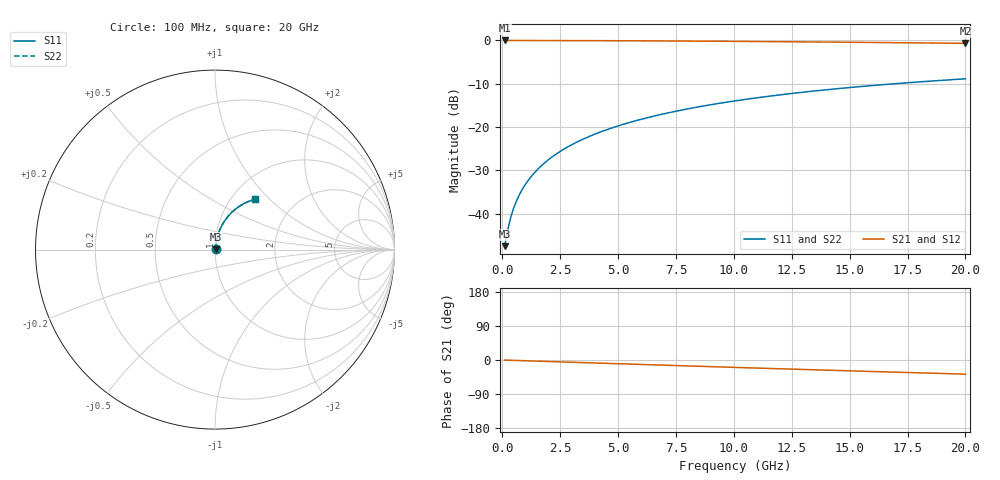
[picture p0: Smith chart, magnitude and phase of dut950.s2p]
! Touchstone file exported from HFSS 2026.1.0
!  File:  C:/ffzhzh/LocalFiles/Ansys_Project_Files/temp_train_TMRDL_950_1783158665_51560.aedt
!  Generated:  05:52:21 PM Jul  4, 2026
!  Design:  TMRDL
!  Project:  temp_train_TMRDL_950_1783158665_51560
! Variables:
!  h_bsmrdl = 2um
!  h_ox = 20um
!  h_rdl = 5um
!  h_sub = 80um
!  h_tmrdl = 2.32um
!  h_tsv = 80um
!  h_via = 3um
!  l_bsmrdl = 300um
!  l_sub = 912.64um
!  l_tmrdl = 512.64um
!  m_sub = 200um
!  pitch = 52.52um
!  r_tsv = 6um
!  s_tmrdl = 10um
!  w_bsmrdl = 18um
!  w_sub = 500um
!  w_tmrdl = 24.4um
!  x_tsv_center1 = 524.84um
!  x_tsv_center2 = 842.84um
!  x_tsv_center3 = 1379.88um
!  x_tsv_center4 = 1697.88um
!  x_tsv_center5 = 2234.92um
!  x_tsv_center6 = 2552.92um
# GHz S MA R 50.000000
! Terminal data exported
! Port[1] = TM_RDL1_1_T1
! Port[2] = TM_RDL1_1_T2
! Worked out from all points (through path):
!   200 points, 100 MHz to 20 GHz, reference 50 ohm
!   highest |S21| = -0.03 dB at 100 MHz (marker M1); lowest = -0.7 dB at 20 GHz (marker M2)
!   group delay of S21, straight-line fit = 5.19 ps
!   lowest |S11| = -47.5 dB at 100 MHz (marker M3), VSWR 1.01, Z = 50.4 + j0.23 ohm
!   |S11| at or under -10 dB: start of sweep to 16.98 GHz
!   |S22| runs from -47.5 to -8.9 dB; largest |S21 - S12| = 3.1e-15
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0.1  0.004214 32.8  0.9965 -0.2  0.9965 -0.2  0.004214 32.8
! Gamma 0 0 0 0
! Port Impedance 50 0 50 0
0.2  0.005831 51.0  0.9964 -0.4  0.9964 -0.4  0.005831 51.0
0.3  0.007748 60.2  0.9962 -0.6  0.9962 -0.6  0.007748 60.2
0.4  0.009745 65.4  0.996 -0.8  0.996 -0.8  0.009745 65.4
0.5  0.01175 68.8  0.9959 -1.0  0.9959 -1.0  0.01175 68.8
0.6  0.01376 71.1  0.9957 -1.2  0.9957 -1.2  0.01376 71.1
0.8  0.01777 74.1  0.9955 -1.6  0.9955 -1.6  0.01777 74.1
1.1  0.0238 76.8  0.9952 -2.2  0.9952 -2.2  0.0238 76.8
1.3  0.02784 77.8  0.995 -2.6  0.995 -2.6  0.02784 77.8
1.6  0.03391 78.8  0.9947 -3.2  0.9947 -3.2  0.03391 78.8
2.1  0.04409 79.5  0.9942 -4.2  0.9942 -4.2  0.04409 79.5
2.7  0.05632 79.6  0.9935 -5.4  0.9935 -5.4  0.05632 79.6
3.5  0.07261 79.0  0.9923 -6.9  0.9923 -6.9  0.07261 79.0
4.2  0.08679 78.2  0.991 -8.3  0.991 -8.3  0.08679 78.2
5  0.1029 77.1  0.9893 -9.9  0.9893 -9.9  0.1029 77.1
5.9  0.1208 75.7  0.987 -11.6  0.987 -11.6  0.1208 75.7
6.8  0.1385 74.2  0.9845 -13.4  0.9845 -13.4  0.1385 74.2
8.3  0.1674 71.6  0.9796 -16.2  0.9796 -16.2  0.1674 71.6
10.1  0.201 68.4  0.9727 -19.7  0.9727 -19.7  0.201 68.4
13.4  0.259 62.5  0.958 -25.8  0.958 -25.8  0.259 62.5
16.7  0.3119 56.8  0.9414 -31.6  0.9414 -31.6  0.3119 56.8
20  0.3595 51.2  0.9238 -37.3  0.9238 -37.3  0.3595 51.2
